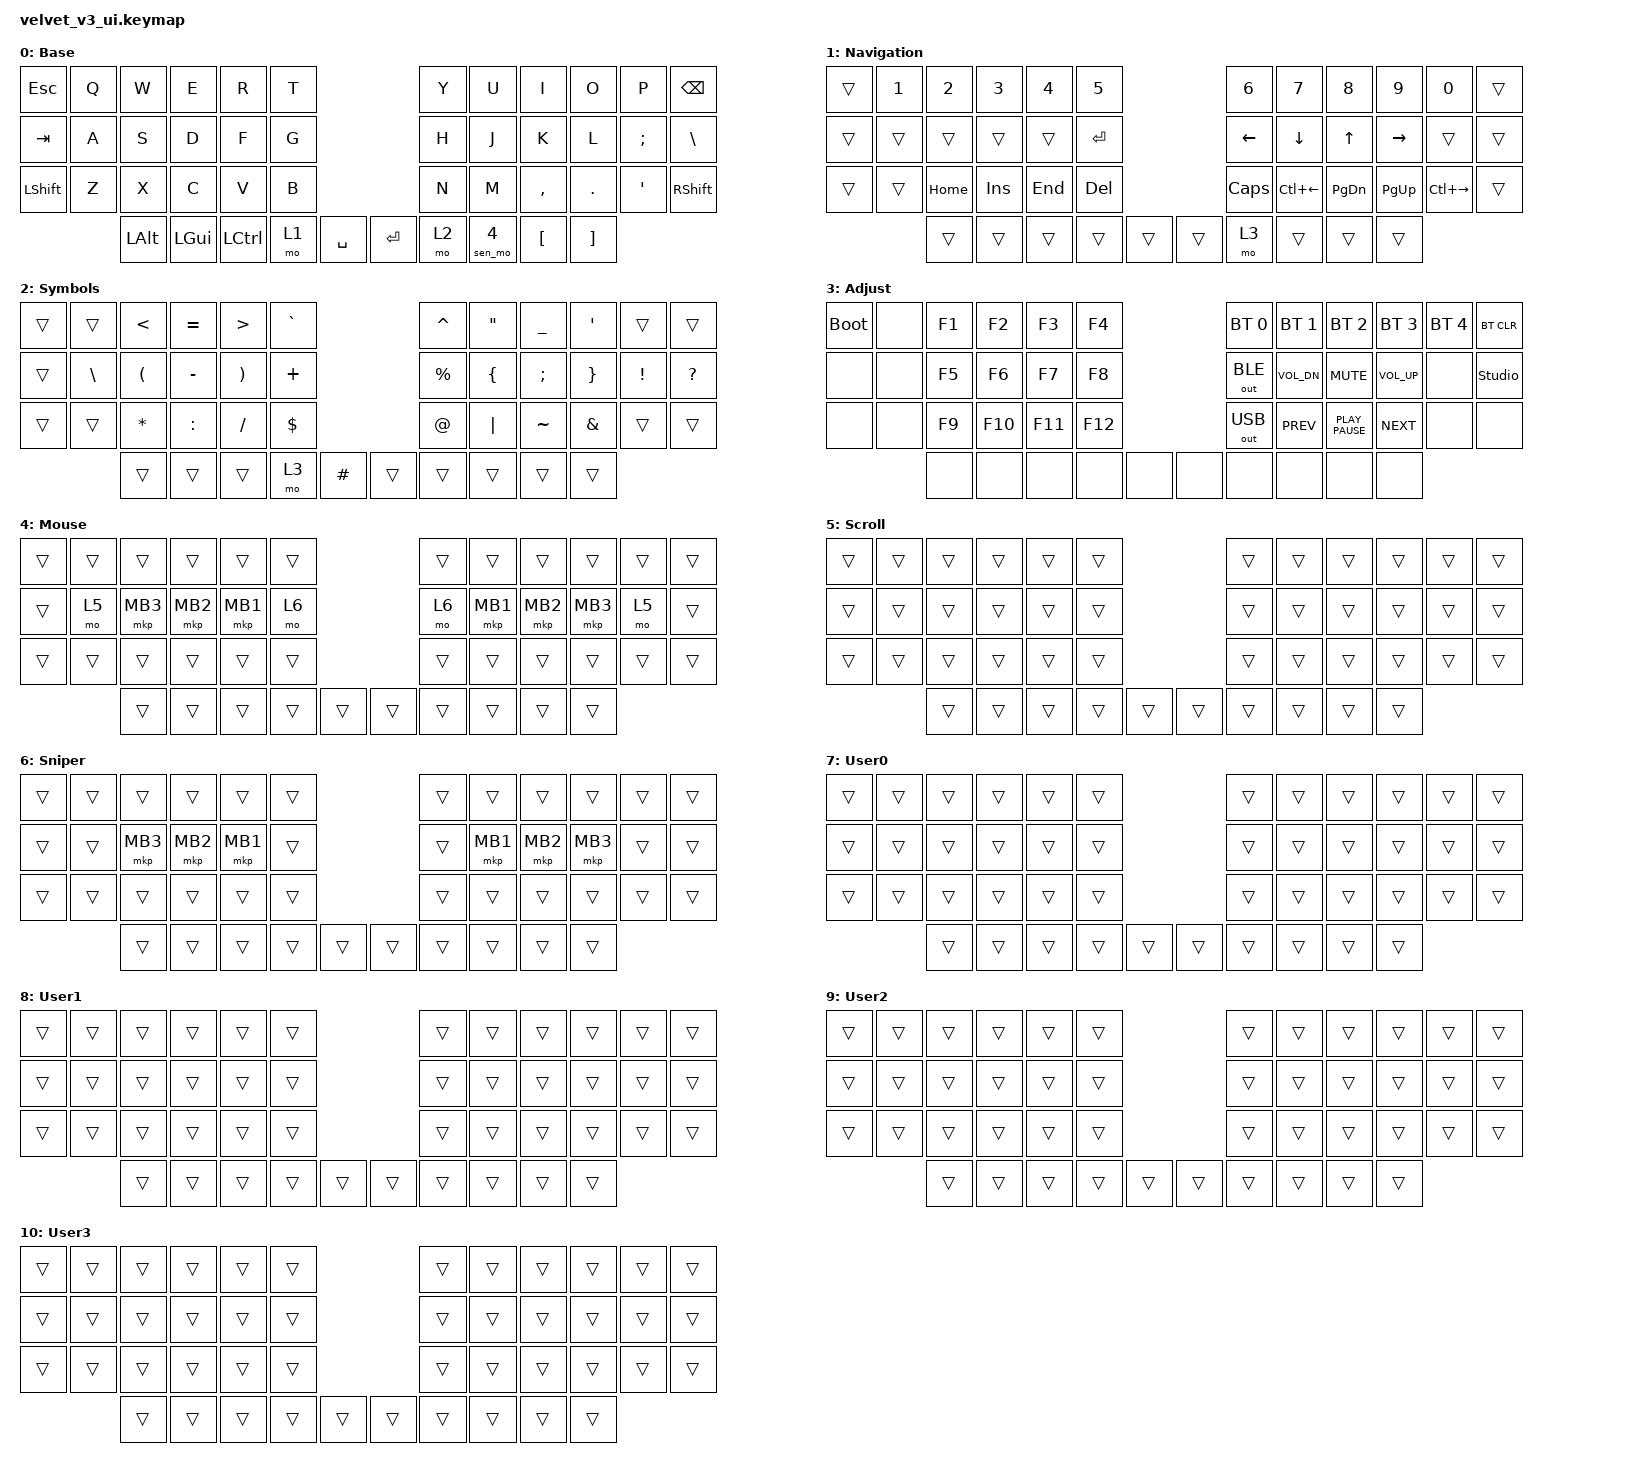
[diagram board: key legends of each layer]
#include "keys_ru.h"
#include <dt-bindings/zmk/input_transform.h>
#include <input/processors.dtsi>
#include <zephyr/dt-bindings/input/input-event-codes.h>
#include <behaviors.dtsi>
#include <dt-bindings/zmk/bt.h>
#include <dt-bindings/zmk/keys.h>
#include <dt-bindings/zmk/outputs.h>
#include <dt-bindings/zmk/pointing.h>

/ {
    behaviors {
        cap_sen: cap_sen {
            compatible = "zmk,behavior-hold-tap";
            label = "CAP_SEN";
            bindings = <&mo>, <&mkp>;

            #binding-cells = <2>;
            tapping-term-ms = <150>;
            hold-while-undecided;
        };
    };

    macros {
        sen_mo: sen_mo {
            compatible = "zmk,behavior-macro-one-param";
            #binding-cells = <1>;
            bindings =
                <&macro_press>,
                <&macro_param_1to1 &mo MACRO_PLACEHOLDER>,
                <&macro_pause_for_release>,
                <&macro_release>,
                <&macro_param_1to1 &mo MACRO_PLACEHOLDER>;

            label = "SEN_MO";
            wait-ms = <15>;
            tap-ms = <30>;
        };
    };

    keymap {
        compatible = "zmk,keymap";

        Base {
            bindings = <
&kp ESC    &kp Q  &kp W     &kp E     &kp R      &kp T                        &kp Y  &kp U      &kp I      &kp O     &kp P     &kp BSPC
&kp TAB    &kp A  &kp S     &kp D     &kp F      &kp G                        &kp H  &kp J      &kp K      &kp L     &kp SEMI  &kp BSLH
&kp LSHFT  &kp Z  &kp X     &kp C     &kp V      &kp B                        &kp N  &kp M      &kp COMMA  &kp DOT   &kp SQT   &kp RSHFT
                  &kp LALT  &kp LGUI  &kp LCTRL  &mo 1  &kp SPACE    &kp RET  &mo 2  &sen_mo 4  &kp LBKT   &kp RBKT
            >;

            display-name = "Base";
        };

        Navigation {
            bindings = <
&trans  &kp N1  &kp N2    &kp N3   &kp N4   &kp N5                     &kp N6    &kp N7        &kp N8         &kp N9       &kp N0         &trans
&trans  &trans  &trans    &trans   &trans   &kp RET                    &kp LEFT  &kp DOWN      &kp UP         &kp RIGHT    &trans         &trans
&trans  &trans  &kp HOME  &kp INS  &kp END  &kp DEL                    &kp CLCK  &kp LC(LEFT)  &kp PAGE_DOWN  &kp PAGE_UP  &kp LC(RIGHT)  &trans
                &trans    &trans   &trans   &trans   &trans    &trans  &mo 3     &trans        &trans         &trans
            >;

            display-name = "Navigation";
        };

        Symbols {
            bindings = <
&trans  &trans    &kp LT    &kp EQUAL  &kp GT    &kp GRAVE                      &kp CARET  &kp DQT   &kp UNDER  &kp SQT   &trans    &trans
&trans  &kp BSLH  &kp LPAR  &kp MINUS  &kp RPAR  &kp PLUS                       &kp PRCNT  &kp LBRC  &kp SEMI   &kp RBRC  &kp EXCL  &kp QUESTION
&trans  &trans    &kp STAR  &kp COLON  &kp FSLH  &kp DLLR                       &kp AT     &kp PIPE  &kp TILDE  &kp AMPS  &trans    &trans
                  &trans    &trans     &trans    &mo 3      &kp HASH    &trans  &trans     &trans    &trans     &trans
            >;

            display-name = "Symbols";
        };

        Adjust {
            bindings = <
&bootloader  &none  &kp F1  &kp F2   &kp F3   &kp F4                   &bt BT_SEL 0  &bt BT_SEL 1  &bt BT_SEL 2      &bt BT_SEL 3  &bt BT_SEL 4  &bt BT_CLR
&none        &none  &kp F5  &kp F6   &kp F7   &kp F8                   &out OUT_BLE  &kp C_VOL_DN  &kp K_MUTE        &kp C_VOL_UP  &none         &studio_unlock
&none        &none  &kp F9  &kp F10  &kp F11  &kp F12                  &out OUT_USB  &kp K_PREV    &kp K_PLAY_PAUSE  &kp K_NEXT    &none         &none
                    &none   &none    &none    &none    &none    &none  &none         &none         &none             &none
            >;

            display-name = "Adjust";
        };

        Mouse {
            bindings = <
&trans  &trans  &trans    &trans    &trans    &trans                    &trans  &trans    &trans    &trans    &trans  &trans
&trans  &mo 5   &mkp MB3  &mkp MB2  &mkp MB1  &mo 6                     &mo 6   &mkp MB1  &mkp MB2  &mkp MB3  &mo 5   &trans
&trans  &trans  &trans    &trans    &trans    &trans                    &trans  &trans    &trans    &trans    &trans  &trans
                &trans    &trans    &trans    &trans  &trans    &trans  &trans  &trans    &trans    &trans
            >;
        };

        Scroll {
            bindings = <
&trans  &trans  &trans  &trans  &trans  &trans                    &trans  &trans  &trans  &trans  &trans  &trans
&trans  &trans  &trans  &trans  &trans  &trans                    &trans  &trans  &trans  &trans  &trans  &trans
&trans  &trans  &trans  &trans  &trans  &trans                    &trans  &trans  &trans  &trans  &trans  &trans
                &trans  &trans  &trans  &trans  &trans    &trans  &trans  &trans  &trans  &trans
            >;
        };

        Sniper {
            bindings = <
&trans  &trans  &trans    &trans    &trans    &trans                    &trans  &trans    &trans    &trans    &trans  &trans
&trans  &trans  &mkp MB3  &mkp MB2  &mkp MB1  &trans                    &trans  &mkp MB1  &mkp MB2  &mkp MB3  &trans  &trans
&trans  &trans  &trans    &trans    &trans    &trans                    &trans  &trans    &trans    &trans    &trans  &trans
                &trans    &trans    &trans    &trans  &trans    &trans  &trans  &trans    &trans    &trans
            >;
        };

        User0 {
            bindings = <
&trans  &trans  &trans  &trans  &trans  &trans                    &trans  &trans  &trans  &trans  &trans  &trans
&trans  &trans  &trans  &trans  &trans  &trans                    &trans  &trans  &trans  &trans  &trans  &trans
&trans  &trans  &trans  &trans  &trans  &trans                    &trans  &trans  &trans  &trans  &trans  &trans
                &trans  &trans  &trans  &trans  &trans    &trans  &trans  &trans  &trans  &trans
            >;

            display-name = "User0";
        };

        User1 {
            bindings = <
&trans  &trans  &trans  &trans  &trans  &trans                    &trans  &trans  &trans  &trans  &trans  &trans
&trans  &trans  &trans  &trans  &trans  &trans                    &trans  &trans  &trans  &trans  &trans  &trans
&trans  &trans  &trans  &trans  &trans  &trans                    &trans  &trans  &trans  &trans  &trans  &trans
                &trans  &trans  &trans  &trans  &trans    &trans  &trans  &trans  &trans  &trans
            >;

            display-name = "User1";
        };

        User2 {
            bindings = <
&trans  &trans  &trans  &trans  &trans  &trans                    &trans  &trans  &trans  &trans  &trans  &trans
&trans  &trans  &trans  &trans  &trans  &trans                    &trans  &trans  &trans  &trans  &trans  &trans
&trans  &trans  &trans  &trans  &trans  &trans                    &trans  &trans  &trans  &trans  &trans  &trans
                &trans  &trans  &trans  &trans  &trans    &trans  &trans  &trans  &trans  &trans
            >;

            display-name = "User2";
        };

        User3 {
            bindings = <
&trans  &trans  &trans  &trans  &trans  &trans                    &trans  &trans  &trans  &trans  &trans  &trans
&trans  &trans  &trans  &trans  &trans  &trans                    &trans  &trans  &trans  &trans  &trans  &trans
&trans  &trans  &trans  &trans  &trans  &trans                    &trans  &trans  &trans  &trans  &trans  &trans
                &trans  &trans  &trans  &trans  &trans    &trans  &trans  &trans  &trans  &trans
            >;

            display-name = "User3";
        };
    };
};

&trackball { cpi = <1000>; };

&trackball_listener {
    input-processors = <&zip_xy_scaler 9 20>;

    scroller {
        layers = <5>;
        input-processors =
            <&zip_xy_transform INPUT_TRANSFORM_Y_INVERT>,
            <&zip_xy_scaler 1 32>,
            <&zip_xy_to_scroll_mapper>;
    };

    sniper {
        layers = <6>;
        input-processors = <&zip_xy_scaler 1 4>;
    };
};
